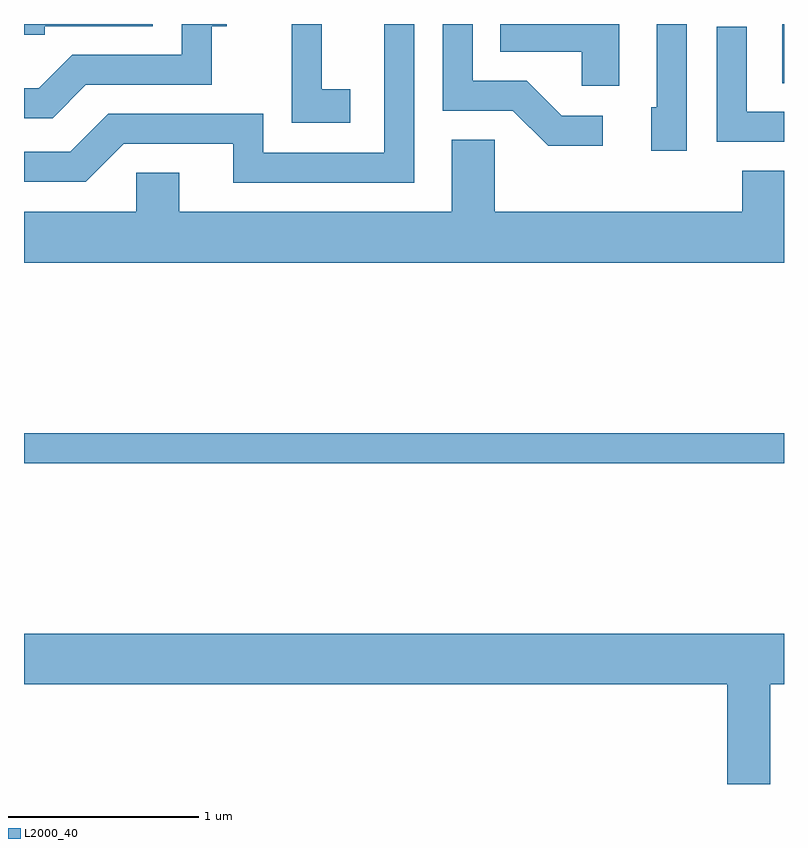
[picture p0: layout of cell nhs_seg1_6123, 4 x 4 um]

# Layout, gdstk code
import gdstk
lib = gdstk.Library(unit=1e-6, precision=1e-09)
def R(c, l, rs):  # rectangles x0, y0, x1, y1
    for r in rs: c.add(gdstk.rectangle(r[:2], r[2:], *l))
def P(c, l, *ps):  # polygons
    for p in ps: c.add(gdstk.Polygon(p, *l))
L2000_40 = (2000, 40)

nhs_seg1_6123 = lib.new_cell('nhs_seg1_6123')
R(nhs_seg1_6123, L2000_40, [(369.611,907.401,373.611,907.559), (373.601,909.401,373.611,909.712)])
P(nhs_seg1_6123, L2000_40, [(372.744,909.712),(372.118,909.712),(372.118,909.566),(372.546,909.566),(372.546,909.386),(372.744,909.386)],
  [(371.664,909.712),(371.506,909.712),(371.506,909.034),(370.869,909.034),(370.869,909.239),(370.054,909.239),(369.854,909.039),(369.611,909.039),(369.611,908.881),(369.937,908.881),(370.137,909.081),(370.711,909.081),(370.711,908.876),(371.664,908.876)],
  [(373.099,909.712),(372.941,909.712),(372.941,909.274),(372.911,909.274),(372.911,909.046),(373.099,909.046)],
  [(369.719,909.701),(370.289,909.701),(370.289,909.712),(369.611,909.712),(369.611,909.656),(369.719,909.656)],
  [(371.329,909.369),(371.179,909.369),(371.179,909.712),(371.021,909.712),(371.021,909.191),(371.329,909.191)],
  [(369.937,909.391),(370.599,909.391),(370.599,909.701),(370.678,909.701),(370.678,909.712),(370.441,909.712),(370.441,909.549),(369.864,909.549),(369.689,909.374),(369.611,909.374),(369.611,909.216),(369.762,909.216)],
  [(372.658,909.229),(372.442,909.229),(372.257,909.414),(371.974,909.414),(371.974,909.712),(371.816,909.712),(371.816,909.256),(372.184,909.256),(372.369,909.071),(372.658,909.071)],
  [(373.611,909.249),(373.414,909.249),(373.414,909.698),(373.256,909.698),(373.256,909.091),(373.611,909.091)],
  [(373.611,908.939),(373.391,908.939),(373.391,908.724),(372.089,908.724),(372.089,909.104),(371.861,909.104),(371.861,908.724),(370.429,908.724),(370.429,908.929),(370.201,908.929),(370.201,908.724),(369.611,908.724),(369.611,908.456),(373.611,908.456)],
  [(373.539,906.236),(373.611,906.236),(373.611,906.504),(369.611,906.504),(369.611,906.236),(373.311,906.236),(373.311,905.712),(373.539,905.712)])

lib.write_gds('nhs_seg1_6123.gds')
